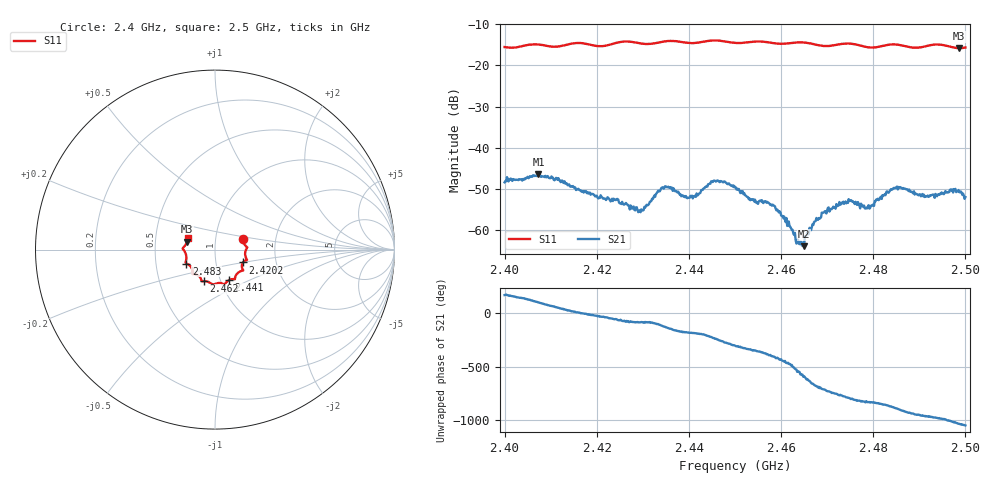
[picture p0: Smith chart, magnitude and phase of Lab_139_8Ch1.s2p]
# Hz S RI R 50
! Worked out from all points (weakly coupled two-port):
!   601 points, 2.4 GHz to 2.5 GHz, reference 50 ohm
!   highest |S21| = -46.46 dB at 2.4073 GHz (marker M1); lowest = -63.9 dB at 2.465 GHz (marker M2)
!   lowest |S11| = -15.8 dB at 2.4987 GHz (marker M3), VSWR 1.39, Z = 36.4 + j3.28 ohm
!   |S11| at or under -10 dB: start of sweep to end of sweep
!   S12 and S22 are empty: the file has one direction only
!   S11 on the Smith chart (normalised r, x): 2.4 GHz: 1.36, +0.17; 2.4202 GHz: 1.35, -0.20; 2.441 GHz: 1.10, -0.39; 2.462 GHz: 0.83, -0.30; 2.483 GHz: 0.72, -0.12; 2.5 GHz: 0.73, +0.09
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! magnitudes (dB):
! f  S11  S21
! 2.4 GHz  -15.5  -48.4
! 2.4073 GHz  -14.9  -46.5
! 2.4167 GHz  -14.6  -50.6
! 2.4202 GHz  -15.3  -52.1
! 2.4295 GHz  -14.6  -55.6
! 2.4333 GHz  -14.4  -50.4
! 2.4353 GHz  -14.1  -49.6
! 2.441 GHz  -14.6  -51.8
! 2.4453 GHz  -13.9  -48.0
! 2.45 GHz  -14.5  -49.4
! 2.4583 GHz  -14.6  -54.0
! 2.462 GHz  -14.6  -59.2
! 2.4637 GHz  -14.4  -62.3
! 2.465 GHz  -14.4  -63.9
! 2.4667 GHz  -14.7  -59.3
! 2.473 GHz  -14.8  -53.7
! 2.4788 GHz  -15.6  -54.3
! 2.483 GHz  -15.0  -50.6
! 2.4833 GHz  -15.0  -50.9
! 2.4917 GHz  -15.2  -51.8
! 2.4987 GHz  -15.8  -50.8
! 2.5 GHz  -15.6  -52.0
